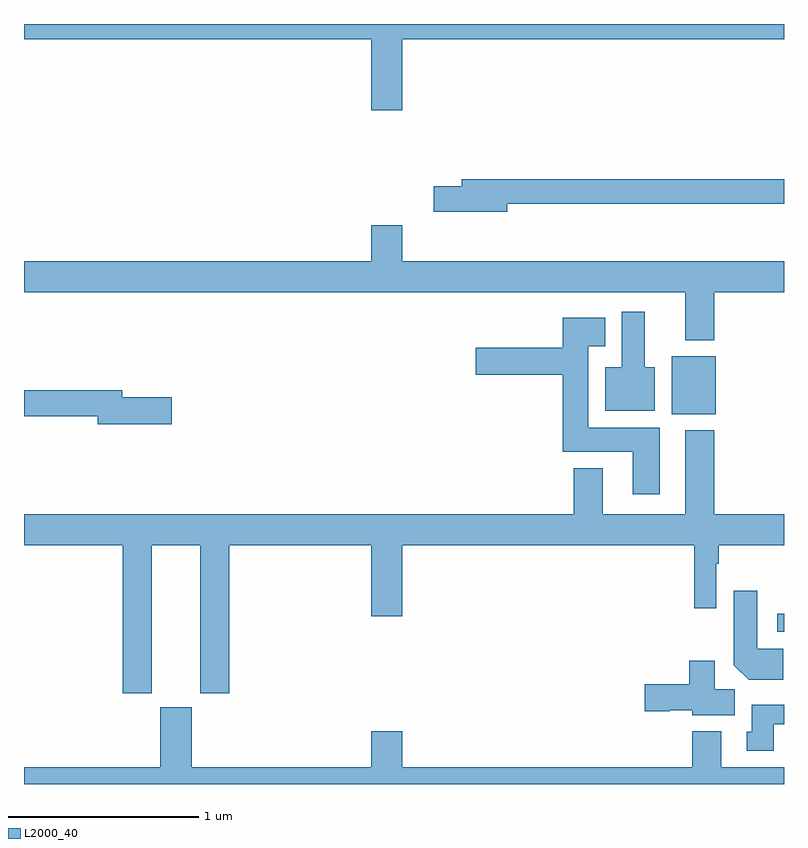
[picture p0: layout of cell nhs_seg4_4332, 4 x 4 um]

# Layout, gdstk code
import gdstk
lib = gdstk.Library(unit=1e-6, precision=1e-09)
def R(c, l, rs):  # rectangles x0, y0, x1, y1
    for r in rs: c.add(gdstk.rectangle(r[:2], r[2:], *l))
def P(c, l, *ps):  # polygons
    for p in ps: c.add(gdstk.Polygon(p, *l))
L2000_40 = (2000, 40)

nhs_seg4_4332 = lib.new_cell('nhs_seg4_4332')
R(nhs_seg4_4332, L2000_40, [(346.965,793.701,347,793.797), (346.409,794.846,346.642,795.151)])
P(nhs_seg4_4332, L2000_40, [(344.992,796.82),(347,796.82),(347,796.9),(343,796.9),(343,796.82),(344.828,796.82),(344.828,796.446),(344.992,796.446)],
  [(345.544,795.954),(347,795.954),(347,796.082),(345.305,796.082),(345.305,796.046),(345.156,796.046),(345.156,795.911),(345.544,795.911)],
  [(346.634,795.488),(347,795.488),(347,795.652),(344.992,795.652),(344.992,795.841),(344.828,795.841),(344.828,795.652),(343,795.652),(343,795.488),(346.481,795.488),(346.481,795.236),(346.634,795.236)],
  [(346.321,795.094),(346.267,795.094),(346.267,795.385),(346.145,795.385),(346.145,795.094),(346.058,795.094),(346.058,794.864),(346.321,794.864)],
  [(346.345,794.776),(345.97,794.776),(345.97,795.203),(346.06,795.203),(346.06,795.355),(345.836,795.355),(345.836,795.195),(345.378,795.195),(345.378,795.053),(345.836,795.053),(345.836,794.648),(346.205,794.648),(346.205,794.424),(346.345,794.424)],
  [(343.777,794.936),(343.516,794.936),(343.516,794.972),(343,794.972),(343,794.836),(343.388,794.836),(343.388,794.794),(343.777,794.794)],
  [(343.672,794.156),(343.928,794.156),(343.928,793.377),(344.081,793.377),(344.081,794.156),(344.828,794.156),(344.828,793.782),(344.992,793.782),(344.992,794.156),(346.528,794.156),(346.528,793.824),(346.644,793.824),(346.644,794.06),(346.657,794.06),(346.657,794.156),(347,794.156),(347,794.32),(346.634,794.32),(346.634,794.761),(346.481,794.761),(346.481,794.32),(346.045,794.32),(346.045,794.563),(345.893,794.563),(345.893,794.32),(343,794.32),(343,794.156),(343.52,794.156),(343.52,793.377),(343.672,793.377)],
  [(346.997,793.612),(346.858,793.612),(346.858,793.918),(346.736,793.918),(346.736,793.526),(346.814,793.448),(346.997,793.448)],
  [(346.741,793.4),(346.636,793.4),(346.636,793.549),(346.502,793.549),(346.502,793.424),(346.266,793.424),(346.266,793.282),(346.398,793.282),(346.398,793.289),(346.518,793.289),(346.518,793.262),(346.741,793.262)],
  [(346.945,793.214),(347,793.214),(347,793.318),(346.829,793.318),(346.829,793.176),(346.805,793.176),(346.805,793.074),(346.945,793.074)],
  [(347,792.988),(346.669,792.988),(346.669,793.177),(346.517,793.177),(346.517,792.988),(344.992,792.988),(344.992,793.177),(344.828,793.177),(344.828,792.988),(343.882,792.988),(343.882,793.305),(343.718,793.305),(343.718,792.988),(343,792.988),(343,792.9),(347,792.9)])

lib.write_gds('nhs_seg4_4332.gds')
